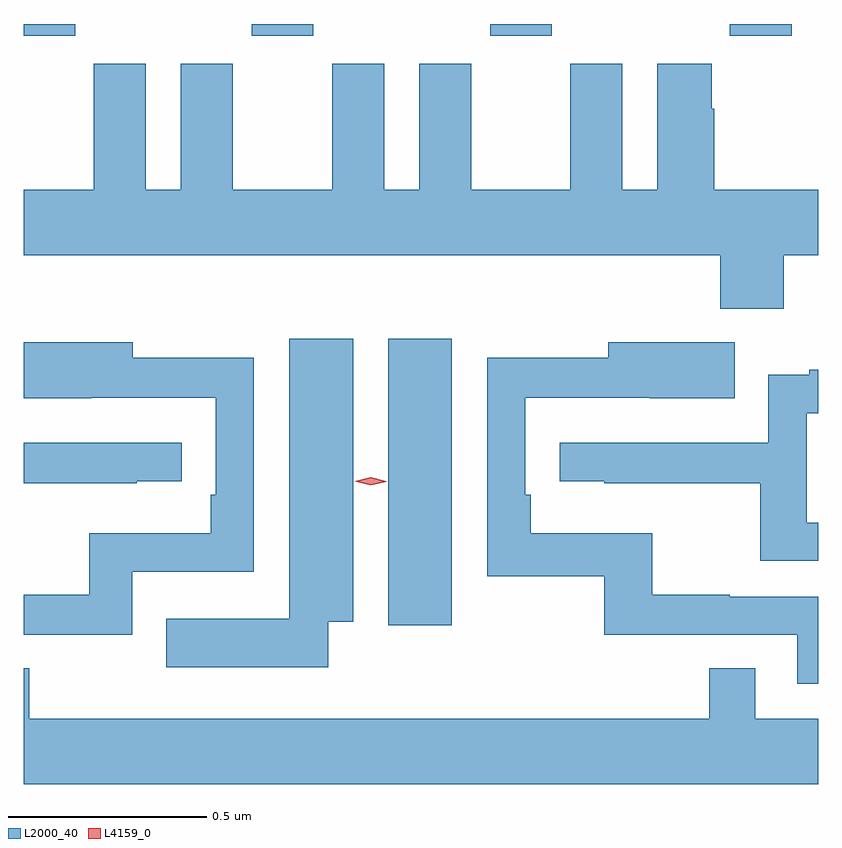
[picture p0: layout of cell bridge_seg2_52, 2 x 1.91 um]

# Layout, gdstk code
import gdstk
lib = gdstk.Library(unit=1e-6, precision=1e-09)
def R(c, l, rs):  # rectangles x0, y0, x1, y1
    for r in rs: c.add(gdstk.rectangle(r[:2], r[2:], *l))
def P(c, l, *ps):  # polygons
    for p in ps: c.add(gdstk.Polygon(p, *l))
L2000_40 = (2000, 40)
L4159_0 = (4159, 0)

bridge_seg2_52 = lib.new_cell('bridge_seg2_52')
R(bridge_seg2_52, L2000_40, [(1114.406,608.076,1114.567,608.797), (1113.489,609.561,1113.618,609.59), (1114.063,609.561,1114.218,609.59), (1114.663,609.561,1114.818,609.59), (1115.267,609.561,1115.423,609.59)])
P(bridge_seg2_52, L2000_40, [(1113.665,609.49),(1113.665,609.172),(1113.489,609.172),(1113.489,609.008),(1115.243,609.008),(1115.243,608.873),(1115.403,608.873),(1115.403,609.008),(1115.489,609.008),(1115.489,609.172),(1115.228,609.172),(1115.228,609.377),(1115.221,609.377),(1115.221,609.49),(1115.084,609.49),(1115.084,609.172),(1114.996,609.172),(1114.996,609.49),(1114.865,609.49),(1114.865,609.172),(1114.615,609.172),(1114.615,609.49),(1114.484,609.49),(1114.484,609.172),(1114.396,609.172),(1114.396,609.49),(1114.265,609.49),(1114.265,609.172),(1114.015,609.172),(1114.015,609.49),(1113.884,609.49),(1113.884,609.172),(1113.796,609.172),(1113.796,609.49)],
  [(1114.255,608.084),(1114.318,608.084),(1114.318,608.797),(1114.157,608.797),(1114.157,608.092),(1113.847,608.092),(1113.847,607.97),(1114.255,607.97)],
  [(1115.489,608.148),(1115.267,608.148),(1115.267,608.153),(1115.071,608.153),(1115.071,608.308),(1114.766,608.308),(1114.766,608.404),(1114.752,608.404),(1114.752,608.649),(1115.065,608.649),(1115.065,608.648),(1115.279,608.648),(1115.279,608.788),(1114.961,608.788),(1114.961,608.75),(1114.656,608.75),(1114.656,608.199),(1114.95,608.199),(1114.95,608.052),(1115.436,608.052),(1115.436,607.929),(1115.489,607.929)],
  [(1113.762,608.211),(1114.068,608.211),(1114.068,608.75),(1113.763,608.75),(1113.763,608.788),(1113.489,608.788),(1113.489,608.648),(1113.659,608.648),(1113.659,608.649),(1113.972,608.649),(1113.972,608.404),(1113.959,608.404),(1113.959,608.308),(1113.654,608.308),(1113.654,608.153),(1113.489,608.153),(1113.489,608.052),(1113.762,608.052)],
  [(1115.489,608.334),(1115.46,608.334),(1115.46,608.61),(1115.489,608.61),(1115.489,608.719),(1115.467,608.719),(1115.467,608.707),(1115.364,608.707),(1115.364,608.535),(1114.839,608.535),(1114.839,608.439),(1114.951,608.439),(1114.951,608.434),(1115.344,608.434),(1115.344,608.238),(1115.489,608.238)],
  [(1113.773,608.439),(1113.886,608.439),(1113.886,608.535),(1113.489,608.535),(1113.489,608.434),(1113.773,608.434)],
  [(1115.489,607.84),(1115.331,607.84),(1115.331,607.967),(1115.215,607.967),(1115.215,607.84),(1113.502,607.84),(1113.502,607.967),(1113.489,607.967),(1113.489,607.676),(1115.489,607.676)])
P(bridge_seg2_52, L4159_0, [(1114.362,608.428),(1114.322,608.438),(1114.322,608.438),(1114.322,608.438),(1114.362,608.448),(1114.402,608.438),(1114.402,608.438),(1114.402,608.437)])

lib.write_gds('bridge_seg2_52.gds')
